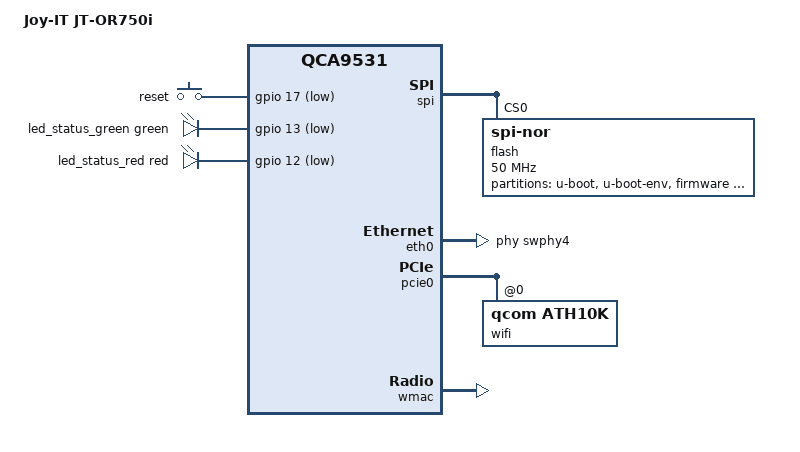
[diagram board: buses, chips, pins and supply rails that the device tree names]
// SPDX-License-Identifier: GPL-2.0-or-later OR MIT

#include "qca953x.dtsi"

#include <dt-bindings/gpio/gpio.h>
#include <dt-bindings/input/input.h>
#include <dt-bindings/leds/common.h>

/ {
	compatible = "joyit,jt-or750i", "qca,qca9531";
	model = "Joy-IT JT-OR750i";

	aliases {
		led-boot = &led_status_green;
		led-failsafe = &led_status_red;
		led-running = &led_status_green;
		led-upgrade = &led_status_red;
		label-mac-device = &eth0;
	};

	keys {
		compatible = "gpio-keys";

		reset {
			label = "reset";
			linux,code = <KEY_RESTART>;
			gpios = <&gpio 17 GPIO_ACTIVE_LOW>;
		};
	};

	leds {
		compatible = "gpio-leds";

		pinctrl-names = "default";
		pinctrl-0 = <&jtag_disable_pins &pinmux_led_eth_pins>;

		led_status_green: status_green {
			function = LED_FUNCTION_STATUS;
			color = <LED_COLOR_ID_GREEN>;
			gpios = <&gpio 13 GPIO_ACTIVE_LOW>;
			default-state = "on";
		};

		led_status_red: status_red {
			function = LED_FUNCTION_STATUS;
			color = <LED_COLOR_ID_RED>;
			gpios = <&gpio 12 GPIO_ACTIVE_LOW>;
		};
	};
};

&pinmux {
	pinmux_led_eth_pins: pinmux_led_eth_pins {
		pinctrl-single,bits = \
			/* GPIO 4: LED_LINK_5 (WAN) */     \
			<0x04 0x0000002d 0x000000ff>,      \
			/* GPIO 14: LED_LINK_2 (LAN 3) */  \
			/* GPIO 15: LED_LINK_3 (LAN 2) */  \
			<0x0c 0x2b2a0000 0xffff0000>,      \
			/* GPIO 16: LED_LINK_4 (LAN 1) */  \
			<0x10 0x0000002c 0x000000ff>;
	};
};

&spi {
	status = "okay";

	flash@0 {
		compatible = "jedec,spi-nor";
		reg = <0>;
		spi-max-frequency = <50000000>;

		partitions {
			compatible = "fixed-partitions";
			#address-cells = <1>;
			#size-cells = <1>;

			partition@0 {
				label = "u-boot";
				reg = <0x0 0x40000>;
				read-only;
			};

			partition@40000 {
				label = "u-boot-env";
				reg = <0x40000 0x10000>;
				read-only;
			};

			partition@50000 {
				label = "firmware";
				reg = <0x50000 0xfa0000>;
				compatible = "denx,uimage";
			};

			art: partition@ff0000 {
				label = "art";
				reg = <0xff0000 0x10000>;
				read-only;

				nvmem-layout {
					compatible = "fixed-layout";
					#address-cells = <1>;
					#size-cells = <1>;

					macaddr_art_0: macaddr@0 {
						reg = <0x0 0x6>;
					};

					macaddr_art_6: macaddr@6 {
						reg = <0x6 0x6>;
					};

					cal_art_1000: calibration@1000 {
						reg = <0x1000 0x440>;
					};

					cal_art_5000: calibration@5000 {
						reg = <0x5000 0x844>;
					};
				};
			};
		};
	};
};

&eth0 {
	status = "okay";

	phy-handle = <&swphy4>;

	nvmem-cells = <&macaddr_art_0>;
	nvmem-cell-names = "mac-address";
};

&eth1 {
	nvmem-cells = <&macaddr_art_6>;
	nvmem-cell-names = "mac-address";
};

&pcie0 {
	status = "okay";

	wifi@0,0 {
		compatible = "qcom,ath10k";
		reg = <0x0000 0 0 0 0>;
		nvmem-cells = <&cal_art_5000>;
		nvmem-cell-names = "calibration";
	};
};

&wmac {
	status = "okay";

	nvmem-cells = <&cal_art_1000>;
	nvmem-cell-names = "calibration";
};
